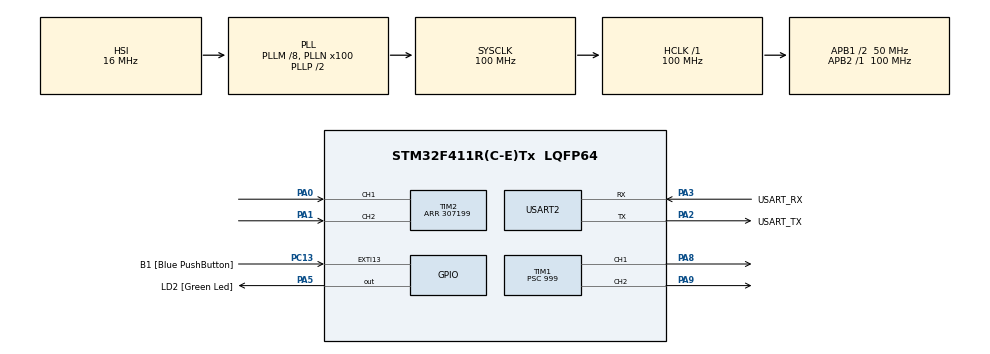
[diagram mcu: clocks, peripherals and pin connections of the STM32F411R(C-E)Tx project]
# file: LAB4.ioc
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Mcu.Family=STM32F4
Mcu.Name=STM32F411R(C-E)Tx
Mcu.Package=LQFP64
NVIC.PriorityGroup=NVIC_PRIORITYGROUP_0
PA0-WKUP.Signal=S_TIM2_CH1_ETR
PA1.Signal=S_TIM2_CH2
PA13.GPIO_Label=TMS
PA13.Mode=Serial_Wire
PA13.Signal=SYS_JTMS-SWDIO
PA14.GPIO_Label=TCK
PA14.Mode=Serial_Wire
PA14.Signal=SYS_JTCK-SWCLK
PA2.GPIO_Label=USART_TX
PA2.Mode=Asynchronous
PA2.Signal=USART2_TX
PA3.GPIO_Label=USART_RX
PA3.Mode=Asynchronous
PA3.Signal=USART2_RX
PA5.GPIO_Label=LD2 [Green Led]
PA5.Signal=GPIO_Output
PA8.Signal=S_TIM1_CH1
PA9.Signal=S_TIM1_CH2
PB3.GPIO_Label=SWO
PB3.Signal=SYS_JTDO-SWO
PC13-ANTI_TAMP.GPIO_Label=B1 [Blue PushButton]
PC13-ANTI_TAMP.GPIO_ModeDefaultEXTI=GPIO_MODE_IT_FALLING
PC13-ANTI_TAMP.Signal=GPXTI13
PC14-OSC32_IN.Mode=LSE-External-Oscillator
PC14-OSC32_IN.Signal=RCC_OSC32_IN
PC15-OSC32_OUT.Mode=LSE-External-Oscillator
PC15-OSC32_OUT.Signal=RCC_OSC32_OUT
PH0\ -\ OSC_IN.Mode=HSE-External-Clock-Source
PH0\ -\ OSC_IN.Signal=RCC_OSC_IN
PH1\ -\ OSC_OUT.Mode=HSE-External-Clock-Source
PH1\ -\ OSC_OUT.Signal=RCC_OSC_OUT
ProjectManager.HeapSize=0x200
ProjectManager.StackSize=0x400
ProjectManager.TargetToolchain=STM32CubeIDE
RCC.48MHZClocksFreq_Value=50000000
RCC.AHBFreq_Value=100000000
RCC.APB1CLKDivider=RCC_HCLK_DIV2
RCC.APB1Freq_Value=50000000
RCC.APB1TimFreq_Value=100000000
RCC.APB2Freq_Value=100000000
RCC.APB2TimFreq_Value=100000000
RCC.CortexFreq_Value=100000000
RCC.FLatency-AdvancedSettings=FLASH_LATENCY_3
RCC.HCLKFreq_Value=100000000
RCC.HSE_VALUE=8000000
RCC.HSI_VALUE=16000000
RCC.PLLM=8
RCC.PLLN=100
RCC.SYSCLKFreq_VALUE=100000000
RCC.SYSCLKSource=RCC_SYSCLKSOURCE_PLLCLK
RCC.VCOOutputFreq_Value=200000000
SH.S_TIM1_CH1.0=TIM1_CH1,PWM Generation1 CH1
SH.S_TIM1_CH2.0=TIM1_CH2,PWM Generation2 CH2
SH.S_TIM2_CH1_ETR.0=TIM2_CH1,Encoder_Interface
SH.S_TIM2_CH2.0=TIM2_CH2,Encoder_Interface
TIM1.Channel-PWM\ Generation1\ CH1=TIM_CHANNEL_1
TIM1.Channel-PWM\ Generation2\ CH2=TIM_CHANNEL_2
TIM1.Period=999
TIM1.Prescaler=999
TIM1.Pulse-PWM\ Generation2\ CH2=500
TIM2.EncoderMode=TIM_ENCODERMODE_TI12
TIM2.Period=307199
USART2.VirtualMode=VM_ASYNC
VP_TIM1_VS_ClockSourceINT.Mode=Internal
board=NUCLEO-F411RE

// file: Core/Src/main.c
/* USER CODE BEGIN Header */
/**
  ******************************************************************************
  * @file           : main.c
  * @brief          : Main program body
  ******************************************************************************
  * @attention
  *
  * Copyright (c) 2023 STMicroelectronics.
  * All rights reserved.
  *
  * This software is licensed under terms that can be found in the LICENSE file
  * in the root directory of this software component.
  * If no LICENSE file comes with this software, it is provided AS-IS.
  *
  ******************************************************************************
  */
/* USER CODE END Header */
#include "main.h"

TIM_HandleTypeDef htim1;
TIM_HandleTypeDef htim2;

UART_HandleTypeDef huart2;

/* USER CODE BEGIN PV */

uint32_t QEIReadRaw;
int32_t duty;
uint32_t duty2 = 500;
float error = 0;
float Kp =0.01;
float Ki =0.0001;
float Kd =0.00001;

float angle = 0;
float setangle = 0;
float feedback = 0;
/* USER CODE END PV */

void SystemClock_Config(void);
static void MX_GPIO_Init(void);
static void MX_USART2_UART_Init(void);
static void MX_TIM1_Init(void);
static void MX_TIM2_Init(void);
/* USER CODE BEGIN PFP */
void Controlangle();
void pid();
/* USER CODE END PFP */

int main(void)
{

  /* MCU Configuration--------------------------------------------------------*/

  /* Reset of all peripherals, Initializes the Flash interface and the Systick. */
  HAL_Init();

  /* Configure the system clock */
  SystemClock_Config();

  /* Initialize all configured peripherals */
  MX_GPIO_Init();
  MX_USART2_UART_Init();
  MX_TIM1_Init();
  MX_TIM2_Init();
  /* USER CODE BEGIN 2 */
  HAL_TIM_Base_Start(&htim1);
  HAL_TIM_PWM_Start(&htim1, TIM_CHANNEL_1);
  HAL_TIM_PWM_Start(&htim1, TIM_CHANNEL_2);
  HAL_TIM_Encoder_Start(&htim2, TIM_CHANNEL_1|TIM_CHANNEL_2);

  /* USER CODE END 2 */

  /* Infinite loop */
  while (1)
  {

    /* USER CODE BEGIN 3 */
	  static uint32_t timestamp = 0;
	  	  if(HAL_GetTick() >= timestamp){
	  		  timestamp = HAL_GetTick() + 10;
	  		QEIReadRaw = __HAL_TIM_GET_COUNTER(&htim2);
	  		angle = (QEIReadRaw / 8.53);
	  		pid();
	  		Controlangle();
//	  		__HAL_TIM_SET_COMPARE(&htim1, TIM_CHANNEL_1, duty);
//	  		__HAL_TIM_SET_COMPARE(&htim1, TIM_CHANNEL_2, 0);
	  	  }
  }
  /* USER CODE END 3 */
}

void SystemClock_Config(void)
{
  RCC_OscInitTypeDef RCC_OscInitStruct = {0};
  RCC_ClkInitTypeDef RCC_ClkInitStruct = {0};

  /** Configure the main internal regulator output voltage
  */
  __HAL_RCC_PWR_CLK_ENABLE();
  __HAL_PWR_VOLTAGESCALING_CONFIG(PWR_REGULATOR_VOLTAGE_SCALE1);

  /** Initializes the RCC Oscillators according to the specified parameters
  * in the RCC_OscInitTypeDef structure.
  */
  RCC_OscInitStruct.OscillatorType = RCC_OSCILLATORTYPE_HSI;
  RCC_OscInitStruct.HSIState = RCC_HSI_ON;
  RCC_OscInitStruct.HSICalibrationValue = RCC_HSICALIBRATION_DEFAULT;
  RCC_OscInitStruct.PLL.PLLState = RCC_PLL_ON;
  RCC_OscInitStruct.PLL.PLLSource = RCC_PLLSOURCE_HSI;
  RCC_OscInitStruct.PLL.PLLM = 8;
  RCC_OscInitStruct.PLL.PLLN = 100;
  RCC_OscInitStruct.PLL.PLLP = RCC_PLLP_DIV2;
  RCC_OscInitStruct.PLL.PLLQ = 4;
  if (HAL_RCC_OscConfig(&RCC_OscInitStruct) != HAL_OK)
  {
    Error_Handler();
  }

  /** Initializes the CPU, AHB and APB buses clocks
  */
  RCC_ClkInitStruct.ClockType = RCC_CLOCKTYPE_HCLK|RCC_CLOCKTYPE_SYSCLK
                              |RCC_CLOCKTYPE_PCLK1|RCC_CLOCKTYPE_PCLK2;
  RCC_ClkInitStruct.SYSCLKSource = RCC_SYSCLKSOURCE_PLLCLK;
  RCC_ClkInitStruct.AHBCLKDivider = RCC_SYSCLK_DIV1;
  RCC_ClkInitStruct.APB1CLKDivider = RCC_HCLK_DIV2;
  RCC_ClkInitStruct.APB2CLKDivider = RCC_HCLK_DIV1;

  if (HAL_RCC_ClockConfig(&RCC_ClkInitStruct, FLASH_LATENCY_3) != HAL_OK)
  {
    Error_Handler();
  }
}

static void MX_TIM1_Init(void)
{

  TIM_ClockConfigTypeDef sClockSourceConfig = {0};
  TIM_MasterConfigTypeDef sMasterConfig = {0};
  TIM_OC_InitTypeDef sConfigOC = {0};
  TIM_BreakDeadTimeConfigTypeDef sBreakDeadTimeConfig = {0};

  htim1.Instance = TIM1;
  htim1.Init.Prescaler = 999;
  htim1.Init.CounterMode = TIM_COUNTERMODE_UP;
  htim1.Init.Period = 999;
  htim1.Init.ClockDivision = TIM_CLOCKDIVISION_DIV1;
  htim1.Init.RepetitionCounter = 0;
  htim1.Init.AutoReloadPreload = TIM_AUTORELOAD_PRELOAD_DISABLE;
  if (HAL_TIM_Base_Init(&htim1) != HAL_OK)
  {
    Error_Handler();
  }
  sClockSourceConfig.ClockSource = TIM_CLOCKSOURCE_INTERNAL;
  if (HAL_TIM_ConfigClockSource(&htim1, &sClockSourceConfig) != HAL_OK)
  {
    Error_Handler();
  }
  if (HAL_TIM_PWM_Init(&htim1) != HAL_OK)
  {
    Error_Handler();
  }
  sMasterConfig.MasterOutputTrigger = TIM_TRGO_RESET;
  sMasterConfig.MasterSlaveMode = TIM_MASTERSLAVEMODE_DISABLE;
  if (HAL_TIMEx_MasterConfigSynchronization(&htim1, &sMasterConfig) != HAL_OK)
  {
    Error_Handler();
  }
  sConfigOC.OCMode = TIM_OCMODE_PWM1;
  sConfigOC.Pulse = 0;
  sConfigOC.OCPolarity = TIM_OCPOLARITY_HIGH;
  sConfigOC.OCNPolarity = TIM_OCNPOLARITY_HIGH;
  sConfigOC.OCFastMode = TIM_OCFAST_DISABLE;
  sConfigOC.OCIdleState = TIM_OCIDLESTATE_RESET;
  sConfigOC.OCNIdleState = TIM_OCNIDLESTATE_RESET;
  if (HAL_TIM_PWM_ConfigChannel(&htim1, &sConfigOC, TIM_CHANNEL_1) != HAL_OK)
  {
    Error_Handler();
  }
  sConfigOC.Pulse = 500;
  if (HAL_TIM_PWM_ConfigChannel(&htim1, &sConfigOC, TIM_CHANNEL_2) != HAL_OK)
  {
    Error_Handler();
  }
  sBreakDeadTimeConfig.OffStateRunMode = TIM_OSSR_DISABLE;
  sBreakDeadTimeConfig.OffStateIDLEMode = TIM_OSSI_DISABLE;
  sBreakDeadTimeConfig.LockLevel = TIM_LOCKLEVEL_OFF;
  sBreakDeadTimeConfig.DeadTime = 0;
  sBreakDeadTimeConfig.BreakState = TIM_BREAK_DISABLE;
  sBreakDeadTimeConfig.BreakPolarity = TIM_BREAKPOLARITY_HIGH;
  sBreakDeadTimeConfig.AutomaticOutput = TIM_AUTOMATICOUTPUT_DISABLE;
  if (HAL_TIMEx_ConfigBreakDeadTime(&htim1, &sBreakDeadTimeConfig) != HAL_OK)
  {
    Error_Handler();
  }
  HAL_TIM_MspPostInit(&htim1);

}

static void MX_TIM2_Init(void)
{

  TIM_Encoder_InitTypeDef sConfig = {0};
  TIM_MasterConfigTypeDef sMasterConfig = {0};

  htim2.Instance = TIM2;
  htim2.Init.Prescaler = 0;
  htim2.Init.CounterMode = TIM_COUNTERMODE_UP;
  htim2.Init.Period = 307199;
  htim2.Init.ClockDivision = TIM_CLOCKDIVISION_DIV1;
  htim2.Init.AutoReloadPreload = TIM_AUTORELOAD_PRELOAD_DISABLE;
  sConfig.EncoderMode = TIM_ENCODERMODE_TI12;
  sConfig.IC1Polarity = TIM_ICPOLARITY_RISING;
  sConfig.IC1Selection = TIM_ICSELECTION_DIRECTTI;
  sConfig.IC1Prescaler = TIM_ICPSC_DIV1;
  sConfig.IC1Filter = 0;
  sConfig.IC2Polarity = TIM_ICPOLARITY_RISING;
  sConfig.IC2Selection = TIM_ICSELECTION_DIRECTTI;
  sConfig.IC2Prescaler = TIM_ICPSC_DIV1;
  sConfig.IC2Filter = 0;
  if (HAL_TIM_Encoder_Init(&htim2, &sConfig) != HAL_OK)
  {
    Error_Handler();
  }
  sMasterConfig.MasterOutputTrigger = TIM_TRGO_RESET;
  sMasterConfig.MasterSlaveMode = TIM_MASTERSLAVEMODE_DISABLE;
  if (HAL_TIMEx_MasterConfigSynchronization(&htim2, &sMasterConfig) != HAL_OK)
  {
    Error_Handler();
  }

}

static void MX_USART2_UART_Init(void)
{

  huart2.Instance = USART2;
  huart2.Init.BaudRate = 115200;
  huart2.Init.WordLength = UART_WORDLENGTH_8B;
  huart2.Init.StopBits = UART_STOPBITS_1;
  huart2.Init.Parity = UART_PARITY_NONE;
  huart2.Init.Mode = UART_MODE_TX_RX;
  huart2.Init.HwFlowCtl = UART_HWCONTROL_NONE;
  huart2.Init.OverSampling = UART_OVERSAMPLING_16;
  if (HAL_UART_Init(&huart2) != HAL_OK)
  {
    Error_Handler();
  }

}

static void MX_GPIO_Init(void)
{
  GPIO_InitTypeDef GPIO_InitStruct = {0};

  /* GPIO Ports Clock Enable */
  __HAL_RCC_GPIOC_CLK_ENABLE();
  __HAL_RCC_GPIOH_CLK_ENABLE();
  __HAL_RCC_GPIOA_CLK_ENABLE();
  __HAL_RCC_GPIOB_CLK_ENABLE();

  /*Configure GPIO pin Output Level */
  HAL_GPIO_WritePin(LD2_GPIO_Port, LD2_Pin, GPIO_PIN_RESET);

  /*Configure GPIO pin : B1_Pin */
  GPIO_InitStruct.Pin = B1_Pin;
  GPIO_InitStruct.Mode = GPIO_MODE_IT_FALLING;
  GPIO_InitStruct.Pull = GPIO_NOPULL;
  HAL_GPIO_Init(B1_GPIO_Port, &GPIO_InitStruct);

  /*Configure GPIO pin : LD2_Pin */
  GPIO_InitStruct.Pin = LD2_Pin;
  GPIO_InitStruct.Mode = GPIO_MODE_OUTPUT_PP;
  GPIO_InitStruct.Pull = GPIO_NOPULL;
  GPIO_InitStruct.Speed = GPIO_SPEED_FREQ_LOW;
  HAL_GPIO_Init(LD2_GPIO_Port, &GPIO_InitStruct);

}

/* USER CODE BEGIN 4 */
void pid(){
	static float lasterror;
	static float totalerror;
	float P;
	float I;
	float D;
	error = setangle - angle;
	totalerror += error;
	P = Kp*error;
	I = Ki*totalerror*0.01;
	D = Kd*((error*lasterror)/0.01);
	if(error <= 0.5 && error >= -0.5){
		totalerror = 0;
	}
	feedback = P+I+D;
	duty = fabs(100*feedback);
	lasterror = error;
	if(duty > 1000){
		duty = 1000;
	}
	if(duty < 50){
		duty = 50;
	}
}
void Controlangle(){
	if(error >= 0.2){
		__HAL_TIM_SET_COMPARE(&htim1, TIM_CHANNEL_1, duty);
		__HAL_TIM_SET_COMPARE(&htim1, TIM_CHANNEL_2, 0);
	}
	if(error <= -0.2){
		__HAL_TIM_SET_COMPARE(&htim1, TIM_CHANNEL_1, 0);
		__HAL_TIM_SET_COMPARE(&htim1, TIM_CHANNEL_2, duty);
	}
	if(error <= 0.2 && error >= -0.2){
		__HAL_TIM_SET_COMPARE(&htim1, TIM_CHANNEL_1, 0);
		__HAL_TIM_SET_COMPARE(&htim1, TIM_CHANNEL_2, 0);
	}
}
/* USER CODE END 4 */

void Error_Handler(void)
{
  __disable_irq();
  while (1)
  {
  }
}
